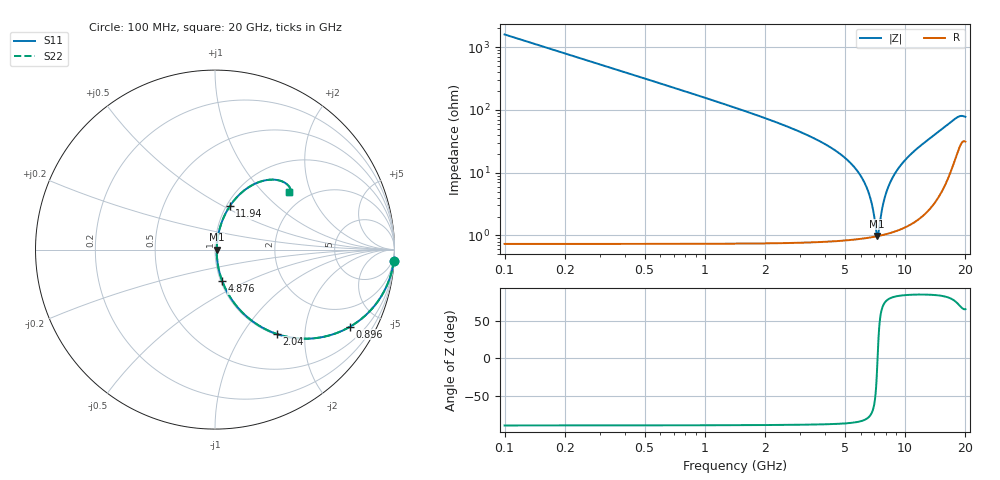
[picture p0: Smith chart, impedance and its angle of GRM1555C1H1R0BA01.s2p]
!Murata Part Number: GRM1555C1H1R0BA01
!These Parameters are Measured in Series Mode Connection
!Data Generated on Mar 30, 2021
!  o--ll--o
!Port1  Port2
!  o------o
!Operation Temp=25[degC], DC Bias Voltage=0[V]
!Freq. Start=100[MHz] Stop=20[GHz] 401[Steps]
# Hz S RI R 50
!Freq.(Hz) S11(Real) S11(Imag) S21(Real) S21(Imag) S12(Real) S12(Imag) S22(Real) S22(Imag)
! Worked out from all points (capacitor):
!   401 points, 100 MHz to 20 GHz, reference 50 ohm
!   read as one part in series: C = 1 pF near 199.5 MHz
!   lowest |Z| = 982 mohm at 7.264 GHz (marker M1)
!   series resonance near 7.284 GHz, so ESL is about 480 pH
!   S11 on the Smith chart (normalised r, x): 100 MHz: 1, -32; 896 MHz: 1.01, -3.50; 2.04 GHz: 1.01, -1.44; 4.876 GHz: 1.02, -0.37; 11.94 GHz: 1.04, +0.54; 20 GHz: 1.62, +1.42
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1e8  0.996 -0.0626  0.00396 0.0626  0.00396 0.0626  0.996 -0.0626
2.99e8  0.9656 -0.1816  0.0344 0.1816  0.0344 0.1816  0.9656 -0.1816
3.985e8  0.9403 -0.236  0.0597 0.236  0.0597 0.236  0.9403 -0.236
5.975e8  0.8744 -0.33  0.1256 0.33  0.1256 0.33  0.8744 -0.33
8.96e8  0.7531 -0.4291  0.2469 0.4291  0.2469 0.4291  0.7531 -0.4291
1.3935e9  0.5484 -0.4943  0.4516 0.4943  0.4516 0.4943  0.5484 -0.4943
2.04025e9  0.3442 -0.47  0.6558 0.47  0.6558 0.47  0.3442 -0.47
3.43325e9  0.1229 -0.3178  0.8771 0.3178  0.8771 0.3178  0.1229 -0.3178
4.876e9  0.0404 -0.1759  0.9596 0.1759  0.9596 0.1759  0.0404 -0.1759
6.07e9  0.0155 -0.0814  0.9845 0.0814  0.9845 0.0814  0.0155 -0.0814
6.7665e9  0.0104 -0.0333  0.9896 0.0333  0.9896 0.0333  0.0104 -0.0333
7.264e9  0.00964 -0.00128  0.9904 0.00128  0.9904 0.00128  0.00964 -0.00128
7.3635e9  0.00974 0.00491  0.9903 -0.00491  0.9903 -0.00491  0.00974 0.00491
7.81125e9  0.0112 0.032  0.9888 -0.032  0.9888 -0.032  0.0112 0.032
8.259e9  0.014 0.058  0.986 -0.058  0.986 -0.058  0.014 0.058
9.00525e9  0.0216 0.0991  0.9784 -0.0991  0.9784 -0.0991  0.0216 0.0991
1.005e10  0.0377 0.153  0.9623 -0.153  0.9623 -0.153  0.0377 0.153
1.19405e10  0.0823 0.2416  0.9177 -0.2416  0.9177 -0.2416  0.0823 0.2416
1.338325e10  0.1312 0.3017  0.8688 -0.3017  0.8688 -0.3017  0.1312 0.3017
1.67165e10  0.3047 0.3894  0.6953 -0.3894  0.6953 -0.3894  0.3047 0.3894
1.8607e10  0.4104 0.3546  0.5896 -0.3546  0.5896 -0.3546  0.4104 0.3546
2e10  0.4107 0.3191  0.5893 -0.3191  0.5893 -0.3191  0.4107 0.3191
